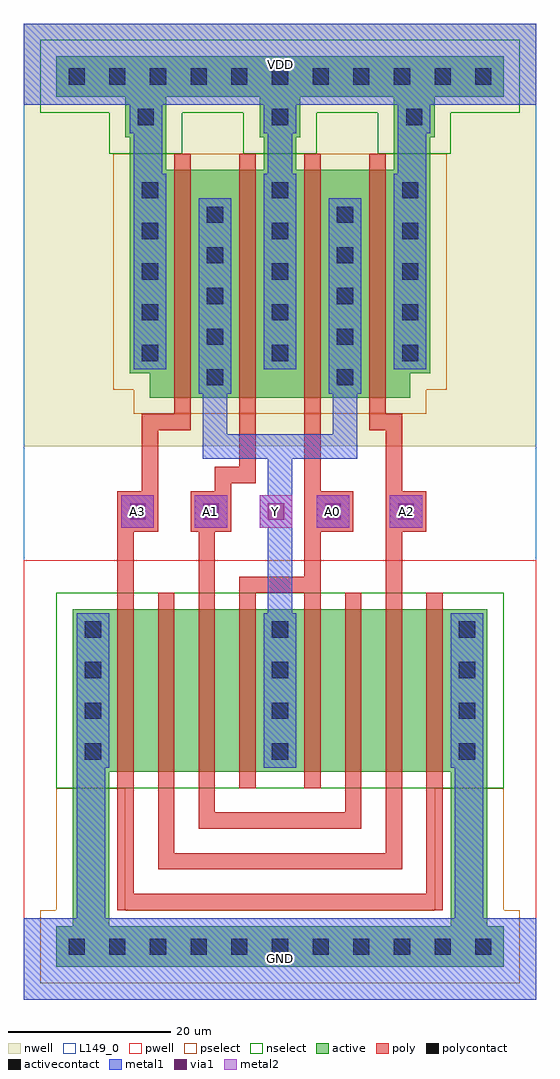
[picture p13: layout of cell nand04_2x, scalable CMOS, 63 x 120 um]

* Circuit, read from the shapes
.subckt nand04_2x A0 A1 A2 A3 GND VDD Y
M1 n1 A3 GND GND nfet w=20u l=2u
M2 n2 A2 n1 GND nfet w=20u l=2u
M3 n3 A1 n2 GND nfet w=20u l=2u
M4 Y A0 n3 GND nfet w=20u l=2u
M5 n4 A0 Y GND nfet w=20u l=2u
M6 n5 A1 n4 GND nfet w=20u l=2u
M7 n6 A2 n5 GND nfet w=20u l=2u
M8 GND A3 n6 GND nfet w=20u l=2u
M9 Y A3 VDD VDD pfet w=28u l=2u
M10 VDD A1 Y VDD pfet w=28u l=2u
M11 Y A0 VDD VDD pfet w=28u l=2u
M12 VDD A2 Y VDD pfet w=28u l=2u
.ends

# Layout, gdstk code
from math import pi, radians
import gdstk
lib = gdstk.Library(unit=1e-6, precision=1e-09)
def R(c, l, rs):  # rectangles x0, y0, x1, y1
    for r in rs: c.add(gdstk.rectangle(r[:2], r[2:], *l))
def A(c, l, x, y, w, h, nx, ny, dx, dy):  # array of equal rectangles
    R(c, l, [(x+i*dx, y+j*dy, x+i*dx+w, y+j*dy+h) for i in range(nx) for j in range(ny)])
def P(c, l, *ps):  # polygons
    for p in ps: c.add(gdstk.Polygon(p, *l))
pwell = (41, 0)
nwell = (42, 0)
active = (43, 0)
pselect = (44, 0)
nselect = (45, 0)
poly = (46, 0)
polycontact = (47, 0)
activecontact = (48, 0)
metal1 = (49, 0)
via1 = (50, 0)
metal2 = (51, 0)
L149_0 = (149, 0)

via = lib.new_cell('via')
R(via, metal1, [(-2,-2,2,2)])
R(via, via1, [(-1,-1,1,1)])
R(via, metal2, [(-2,-2,2,2)])

nand04_2x = lib.new_cell('nand04_2x')
R(nand04_2x, pwell, [(0,0,63,54), (0,22,63,54)])
R(nand04_2x, nwell, [(0,68,63,120)])
P(nand04_2x, nwell, [(9.5,68),(9.5,71),(7,71),(7,108),(56,108),(56,71),(53.5,71),(53.5,68)])
A(nand04_2x, active, 12.5, 106, 5, 5, 3, 1, 16.5, 0)
R(nand04_2x, active, [(4,4,59,9), (6,9,10.5,28), (52.5,9,57,28), (6,28,11.5,48), (6,28,57,48), (51.5,28,57,48), (13,102,17.5,106), (29.5,102,33.5,106), (45.5,102,50,106), (4,111,59,116)])
P(nand04_2x, active, [(44.5,74),(44.5,102),(50,102),(50,77),(47.5,77),(47.5,74)],
  [(15.5,74),(15.5,77),(13,77),(13,102),(50,102),(50,77),(47.5,77),(47.5,74)],
  [(15.5,74),(15.5,77),(13,77),(13,102),(18.5,102),(18.5,74)])
R(nand04_2x, pselect, [(2,2,61,11), (4,11,12.5,26), (50.5,11,59,26)])
P(nand04_2x, pselect, [(13.5,72),(13.5,75),(11,75),(11,104),(52,104),(52,75),(49.5,75),(49.5,72)])
A(nand04_2x, nselect, 10.5, 104, 9, 5, 3, 1, 16.5, 0)
R(nand04_2x, nselect, [(4,26,59,50), (2,109,61,118)])
A(nand04_2x, poly, 11.5, 26, 2, 2, 4, 2, 5, 22)
A(nand04_2x, poly, 34.5, 26, 2, 2, 4, 2, 5, 22)
A(nand04_2x, poly, 11.5, 28, 2, 20, 4, 1, 5, 0)
A(nand04_2x, poly, 34.5, 28, 2, 20, 4, 1, 5, 0)
A(nand04_2x, poly, 18.5, 72, 2, 2, 4, 2, 8, 30)
A(nand04_2x, poly, 18.5, 74, 2, 28, 4, 1, 8, 0)
R(nand04_2x, poly, [(11.5,57.5,16.5,62.5), (20.5,57.5,25.5,62.5), (35.5,57.5,40.5,62.5), (44.5,57.5,49.5,62.5)])
R(nand04_2x, polycontact, [(13,59,15,61), (22,59,24,61), (37,59,39,61), (46,59,48,61)])
A(nand04_2x, activecontact, 5.5, 5.5, 2, 2, 11, 2, 5, 107)
A(nand04_2x, activecontact, 7.5, 29.5, 2, 2, 3, 4, 23, 5)
A(nand04_2x, activecontact, 22.5, 75.5, 2, 2, 1, 5, 0, 5)
A(nand04_2x, activecontact, 38.5, 75.5, 2, 2, 1, 5, 0, 5)
A(nand04_2x, activecontact, 14.5, 78.5, 2, 2, 3, 5, 16, 5)
A(nand04_2x, activecontact, 14, 107.5, 2, 2, 3, 1, 16.5, 0)
A(nand04_2x, metal1, 6.5, 28.5, 4, 19, 3, 1, 23, 0)
A(nand04_2x, metal1, 13.5, 77.5, 4, 24, 3, 1, 16, 0)
A(nand04_2x, metal1, 13, 106.5, 4, 3.5, 3, 1, 16.5, 0)
R(nand04_2x, metal1, [(0,0,63,10), (6.5,10,10,28.5), (53,10,56.5,28.5), (12,58,16,62), (21,58,25,62), (36,58,40,62), (45,58,49,62), (21.5,74.5,25.5,98.5), (37.5,74.5,41.5,98.5), (13.5,101.5,17,106.5), (30,101.5,33,106.5), (46,101.5,49.5,106.5), (0,110,63,120)])
R(nand04_2x, metal2, [(12,58,16,62), (21,58,25,62), (29,58,33,62), (36,58,40,62), (45,58,49,62)])
R(nand04_2x, L149_0, [(0,0,63,120)])
nand04_2x.add(gdstk.FlexPath([(36.5,51),(26.5,51)], 2, ends="flush", simple_path=True, layer=46, datatype=0))  # poly
nand04_2x.add(gdstk.FlexPath([(22.5,26),(22.5,22),(40.5,22),(40.5,26)], 2, ends="flush", simple_path=True, layer=46, datatype=0))  # poly
nand04_2x.add(gdstk.FlexPath([(45.5,26),(45.5,17),(17.5,17),(17.5,26)], 2, ends="flush", simple_path=True, layer=46, datatype=0))  # poly
nand04_2x.add(gdstk.FlexPath([(12.5,26),(12.5,12),(50.5,12),(50.5,26)], 2, ends="flush", simple_path=True, layer=46, datatype=0))  # poly
nand04_2x.add(gdstk.FlexPath([(35.5,72),(35.5,52)], 2, ends="flush", simple_path=True, layer=46, datatype=0))  # poly
nand04_2x.add(gdstk.FlexPath([(22.5,50),(22.5,57.5)], 2, ends="flush", simple_path=True, layer=46, datatype=0))  # poly
nand04_2x.add(gdstk.FlexPath([(12.5,50),(12.5,57.5)], 2, ends="flush", simple_path=True, layer=46, datatype=0))  # poly
nand04_2x.add(gdstk.FlexPath([(20.5,71),(15.5,71),(15.5,62.5)], 2, ends="flush", simple_path=True, layer=46, datatype=0))  # poly
nand04_2x.add(gdstk.FlexPath([(27.5,72),(27.5,64.5),(24.5,64.5),(24.5,62.5)], 2, ends="flush", simple_path=True, layer=46, datatype=0))  # poly
nand04_2x.add(gdstk.FlexPath([(42.5,71),(45.5,71),(45.5,62.5)], 2, ends="flush", simple_path=True, layer=46, datatype=0))  # poly
nand04_2x.add(gdstk.FlexPath([(45.5,50),(45.5,57.5)], 2, ends="flush", simple_path=True, layer=46, datatype=0))  # poly
nand04_2x.add(gdstk.FlexPath([(23.5,74.5),(23.5,68),(39.5,68),(39.5,74.5)], 3, ends="flush", simple_path=True, layer=49, datatype=0))  # metal1
nand04_2x.add(gdstk.FlexPath([(31.5,47.5),(31.5,66.5)], 3, ends="flush", simple_path=True, layer=49, datatype=0))  # metal1
nand04_2x.add(gdstk.Reference(via, (38,60), rotation=pi, x_reflection=True))
nand04_2x.add(gdstk.Reference(via, (31,60), rotation=pi, x_reflection=True))
nand04_2x.add(gdstk.Reference(via, (23,60), rotation=pi, x_reflection=True))
nand04_2x.add(gdstk.Reference(via, (14,60), rotation=pi, x_reflection=True))
nand04_2x.add(gdstk.Reference(via, (47,60), rotation=pi, x_reflection=True))
nand04_2x.add(gdstk.Label('A0', (38,60), layer=3, texttype=0))
nand04_2x.add(gdstk.Label('Y', (31,60), layer=3, texttype=0))
nand04_2x.add(gdstk.Label('A2', (47,60), layer=3, texttype=0))
nand04_2x.add(gdstk.Label('A3', (14,60), layer=3, texttype=0))
nand04_2x.add(gdstk.Label('A1', (23,60), layer=3, texttype=0))
nand04_2x.add(gdstk.Label('GND', (31.5,5), layer=2, texttype=0))
nand04_2x.add(gdstk.Label('VDD', (31.5,115), layer=2, texttype=0))

lib.write_gds('nand04_2x.gds')
